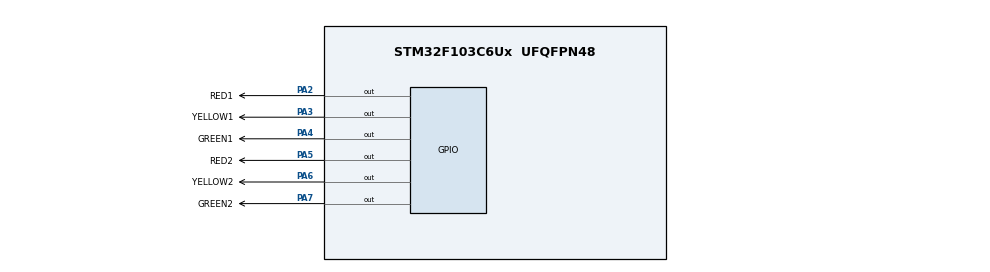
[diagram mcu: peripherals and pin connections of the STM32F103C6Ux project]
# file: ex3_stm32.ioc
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Mcu.Family=STM32F1
Mcu.Name=STM32F103C6Ux
Mcu.Package=UFQFPN48
NVIC.PriorityGroup=NVIC_PRIORITYGROUP_4
PA2.GPIO_Label=RED1
PA2.Signal=GPIO_Output
PA3.GPIO_Label=YELLOW1
PA3.Signal=GPIO_Output
PA4.GPIO_Label=GREEN1
PA4.Signal=GPIO_Output
PA5.GPIO_Label=RED2
PA5.Signal=GPIO_Output
PA6.GPIO_Label=YELLOW2
PA6.Signal=GPIO_Output
PA7.GPIO_Label=GREEN2
PA7.Signal=GPIO_Output
ProjectManager.HeapSize=0x200
ProjectManager.StackSize=0x400
ProjectManager.TargetToolchain=STM32CubeIDE
RCC.APB1Freq_Value=8000000
RCC.APB2Freq_Value=8000000
VP_SYS_VS_ND.Mode=No_Debug
board=custom

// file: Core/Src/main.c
/* USER CODE BEGIN Header */
/**
  ******************************************************************************
  * @file           : main.c
  * @brief          : Main program body
  ******************************************************************************
  * @attention
  *
  * <h2><center>&copy; Copyright (c) 2022 STMicroelectronics.
  * All rights reserved.</center></h2>
  *
  * This software component is licensed by ST under BSD 3-Clause license,
  * the "License"; You may not use this file except in compliance with the
  * License. You may obtain a copy of the License at:
  *                        opensource.org/licenses/BSD-3-Clause
  *
  ******************************************************************************
  */
/* USER CODE END Header */
#include "main.h"

void SystemClock_Config(void);
static void MX_GPIO_Init(void);

int main(void)
{

  /* MCU Configuration--------------------------------------------------------*/

  /* Reset of all peripherals, Initializes the Flash interface and the Systick. */
  HAL_Init();

  /* Configure the system clock */
  SystemClock_Config();

  /* Initialize all configured peripherals */
  MX_GPIO_Init();
  /* USER CODE BEGIN 2 */
  void trafficLight(int *count, int *state
                  , GPIO_TypeDef* red, uint16_t redPin
                  , GPIO_TypeDef* yellow, uint16_t yellowPin
                  , GPIO_TypeDef* green, uint16_t greenPin)
  {
  	if (*state == 0){ //red
  		HAL_GPIO_WritePin(red, redPin, GPIO_PIN_SET);
  		if (*count <= 0){
  			*count = 3;
  			*state = 1;
  			HAL_GPIO_WritePin(red, redPin, GPIO_PIN_RESET);
  			HAL_GPIO_WritePin(green, greenPin, GPIO_PIN_SET);
  		}
  	}
  	else if (*state == 1){ //green
  		HAL_GPIO_WritePin(green, greenPin, GPIO_PIN_SET);
  		if (*count <= 0){
  			*count = 2;
  			*state = 2;
  			HAL_GPIO_WritePin(green, greenPin, GPIO_PIN_RESET);
  			HAL_GPIO_WritePin(yellow, yellowPin, GPIO_PIN_SET);
  		}
  	}
  	else if (*state == 2){ //yellow
  		HAL_GPIO_WritePin(yellow, yellowPin, GPIO_PIN_SET);
  		if (*count <= 0){
  			*count = 5;
  			*state = 0;
  			HAL_GPIO_WritePin(yellow, yellowPin, GPIO_PIN_RESET);
  			HAL_GPIO_WritePin(red, redPin, GPIO_PIN_SET);
  		}
  	}
  }
  /* USER CODE END 2 */

  /* Infinite loop */
  /* USER CODE BEGIN WHILE */
  int count1 = 5;
  int state1 = 0; //start with 5 seconds of red
  int count2 = 3;
  int state2 = 1; //start with 3 seconds of green
  while (1)
  {
  	trafficLight(&count1, &state1, RED1_GPIO_Port, RED1_Pin
  								 , YELLOW1_GPIO_Port, YELLOW1_Pin
  								 , GREEN1_GPIO_Port, GREEN1_Pin);
  	trafficLight(&count2, &state2, RED2_GPIO_Port, RED2_Pin
  								 , YELLOW2_GPIO_Port, YELLOW2_Pin
  								 , GREEN2_GPIO_Port, GREEN2_Pin);
  	count1--;
  	count2--;
  	HAL_Delay(1000);
  }
  /* USER CODE END 3 */
}

void SystemClock_Config(void)
{
  RCC_OscInitTypeDef RCC_OscInitStruct = {0};
  RCC_ClkInitTypeDef RCC_ClkInitStruct = {0};

  /** Initializes the RCC Oscillators according to the specified parameters
  * in the RCC_OscInitTypeDef structure.
  */
  RCC_OscInitStruct.OscillatorType = RCC_OSCILLATORTYPE_HSI;
  RCC_OscInitStruct.HSIState = RCC_HSI_ON;
  RCC_OscInitStruct.HSICalibrationValue = RCC_HSICALIBRATION_DEFAULT;
  RCC_OscInitStruct.PLL.PLLState = RCC_PLL_NONE;
  if (HAL_RCC_OscConfig(&RCC_OscInitStruct) != HAL_OK)
  {
    Error_Handler();
  }
  /** Initializes the CPU, AHB and APB buses clocks
  */
  RCC_ClkInitStruct.ClockType = RCC_CLOCKTYPE_HCLK|RCC_CLOCKTYPE_SYSCLK
                              |RCC_CLOCKTYPE_PCLK1|RCC_CLOCKTYPE_PCLK2;
  RCC_ClkInitStruct.SYSCLKSource = RCC_SYSCLKSOURCE_HSI;
  RCC_ClkInitStruct.AHBCLKDivider = RCC_SYSCLK_DIV1;
  RCC_ClkInitStruct.APB1CLKDivider = RCC_HCLK_DIV1;
  RCC_ClkInitStruct.APB2CLKDivider = RCC_HCLK_DIV1;

  if (HAL_RCC_ClockConfig(&RCC_ClkInitStruct, FLASH_LATENCY_0) != HAL_OK)
  {
    Error_Handler();
  }
}

static void MX_GPIO_Init(void)
{
  GPIO_InitTypeDef GPIO_InitStruct = {0};

  /* GPIO Ports Clock Enable */
  __HAL_RCC_GPIOA_CLK_ENABLE();

  /*Configure GPIO pin Output Level */
  HAL_GPIO_WritePin(GPIOA, RED1_Pin|YELLOW1_Pin|GREEN1_Pin|RED2_Pin
                          |YELLOW2_Pin|GREEN2_Pin, GPIO_PIN_RESET);

  /*Configure GPIO pins : RED1_Pin YELLOW1_Pin GREEN1_Pin RED2_Pin
                           YELLOW2_Pin GREEN2_Pin */
  GPIO_InitStruct.Pin = RED1_Pin|YELLOW1_Pin|GREEN1_Pin|RED2_Pin
                          |YELLOW2_Pin|GREEN2_Pin;
  GPIO_InitStruct.Mode = GPIO_MODE_OUTPUT_PP;
  GPIO_InitStruct.Pull = GPIO_NOPULL;
  GPIO_InitStruct.Speed = GPIO_SPEED_FREQ_LOW;
  HAL_GPIO_Init(GPIOA, &GPIO_InitStruct);

}

void Error_Handler(void)
{
  __disable_irq();
  while (1)
  {
  }
}

/************************ (C) COPYRIGHT STMicroelectronics *****END OF FILE****/
